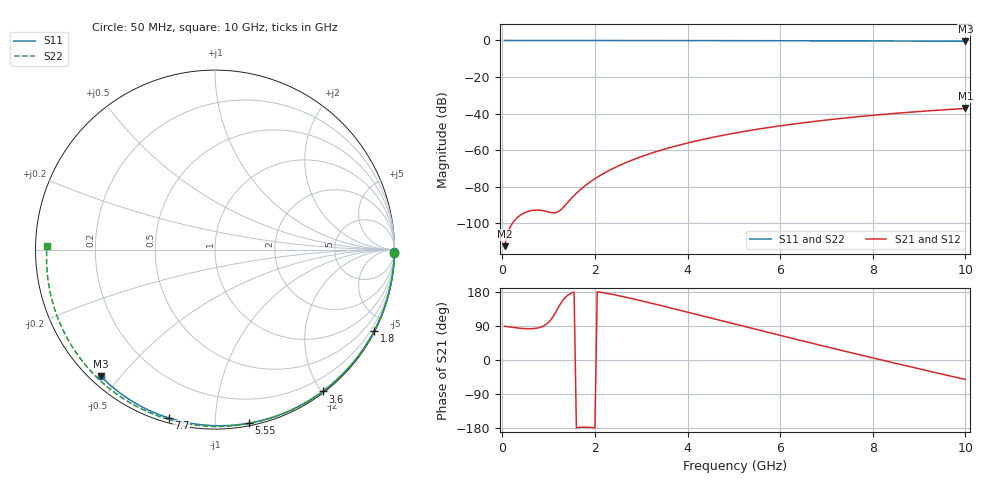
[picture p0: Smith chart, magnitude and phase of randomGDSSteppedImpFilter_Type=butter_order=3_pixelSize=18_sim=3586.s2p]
! freq	dB(S11)	phase(S11)	dB(S12)	phase(S12)
!  dB(S21)	phase(S21)	dB(S22)	phase(S22)
!S-par simulation data
#  GHz  S  DB  R 50
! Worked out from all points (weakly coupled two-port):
!   200 points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, 50 MHz to 10 GHz, reference 50 ohm
!   highest |S21| = -37.20 dB at 10 GHz (marker M1); lowest = -112.5 dB at 50 MHz (marker M2)
!   lowest |S11| = -0.4 dB at 10 GHz (marker M3), VSWR 39.07, Z = 1.53 - j22.2 ohm
!   |S11| at or under -10 dB: nowhere
!   |S22| runs from -0.6 to 0.0 dB; largest |S21 - S12| = 0
!   S11 on the Smith chart (normalised r, x): 50 MHz: open; 1.8 GHz: 0.04, -4.16; 3.6 GHz: 0.02, -2.01; 5.55 GHz: 0.02, -1.21; 7.7 GHz: 0.02, -0.76; 10 GHz: 0.03, -0.44
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0.05  -0.00 -0.8  -112.49 89.1  -112.49 89.1  -0.00 -1.1
0.45  -0.01 -6.9  -94.64 83.1  -94.64 83.1  -0.01 -9.7
0.85  -0.02 -12.9  -92.95 87.6  -92.95 87.6  -0.02 -18.1
1.3  -0.02 -19.6  -91.69 156.5  -91.69 156.5  -0.03 -27.6
1.75  -0.03 -26.3  -80.20 -177.3  -80.20 -177.3  -0.05 -36.9
1.8  -0.03 -27.0  -79.19 -177.3  -79.19 -177.3  -0.05 -37.9
1.95  -0.04 -29.2  -76.43 -178.5  -76.43 -178.5  -0.05 -40.9
2.1  -0.04 -31.4  -74.01 179.1  -74.01 179.1  -0.06 -44.0
2.3  -0.04 -34.3  -71.17 174.9  -71.17 174.9  -0.06 -48.0
2.5  -0.05 -37.2  -68.68 170.1  -68.68 170.1  -0.07 -52.0
2.9  -0.06 -43.0  -64.46 159.1  -64.46 159.1  -0.08 -59.8
3.4  -0.07 -50.0  -60.20 144.5  -60.20 144.5  -0.09 -69.4
3.6  -0.07 -52.8  -58.72 138.4  -58.72 138.4  -0.10 -73.2
4.3  -0.09 -62.4  -54.29 117.0  -54.29 117.0  -0.12 -86.1
5.05  -0.11 -72.4  -50.51 93.9  -50.51 93.9  -0.15 -99.4
5.55  -0.13 -78.9  -48.38 78.6  -48.38 78.6  -0.17 -108.0
6.1  -0.15 -85.9  -46.33 61.9  -46.33 61.9  -0.21 -117.2
6.7  -0.18 -93.4  -44.38 43.9  -44.38 43.9  -0.24 -127.1
7.7  -0.24 -105.4  -41.65 14.3  -41.65 14.3  -0.32 -143.4
8.35  -0.29 -113.1  -40.16 -4.6  -40.16 -4.6  -0.38 -153.9
9.2  -0.36 -122.9  -38.50 -28.9  -38.50 -28.9  -0.47 -167.8
10  -0.44 -132.0  -37.20 -51.3  -37.20 -51.3  -0.57 178.7
